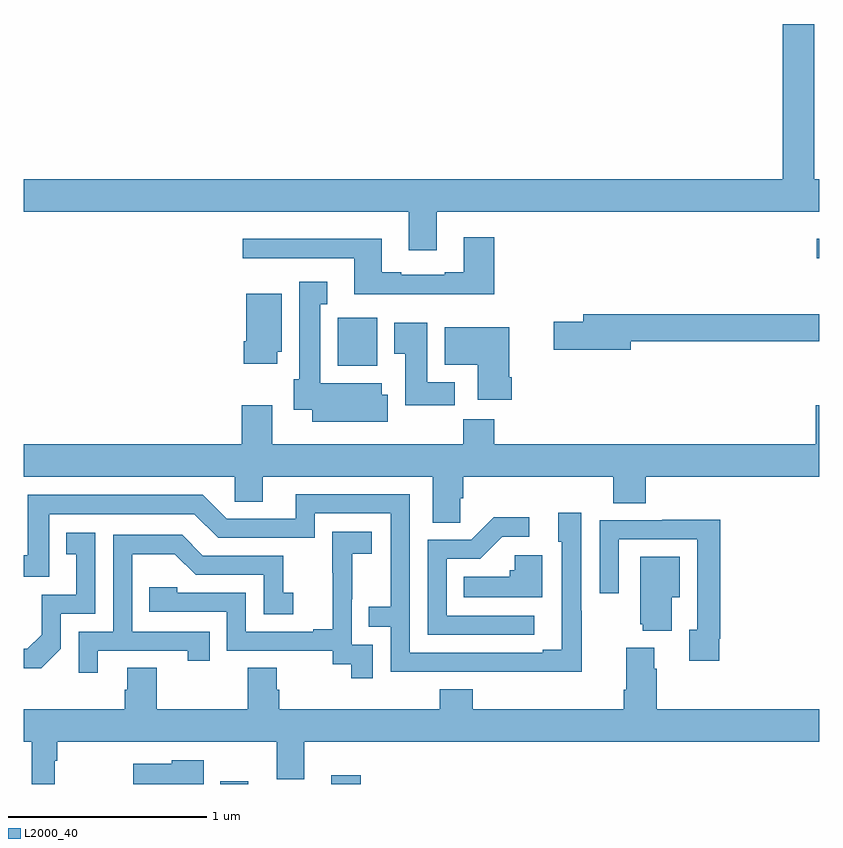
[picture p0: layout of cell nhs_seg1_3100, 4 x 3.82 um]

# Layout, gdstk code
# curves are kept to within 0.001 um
import gdstk
lib = gdstk.Library(unit=1e-6, precision=1e-09)
def R(c, l, rs):  # rectangles x0, y0, x1, y1
    for r in rs: c.add(gdstk.rectangle(r[:2], r[2:], *l))
def P(c, l, *ps):  # polygons
    for p in ps: c.add(gdstk.Polygon(p, *l))
L2000_40 = (2000, 40)

nhs_seg1_3100 = lib.new_cell('nhs_seg1_3100')
R(nhs_seg1_3100, L2000_40, [(279.989,538.199,280.128,538.213), (280.547,538.199,280.695,538.243), (280.58,540.302,280.777,540.544), (282.987,540.843,283,540.94)])
P(nhs_seg1_3100, L2000_40, [(281.077,541.076),(283,541.076),(283,541.24),(282.975,541.24),(282.975,542.02),(282.815,542.02),(282.815,541.24),(279,541.24),(279,541.076),(280.937,541.076),(280.937,540.882),(281.077,540.882)],
  [(281.366,540.949),(281.213,540.949),(281.213,540.772),(281.117,540.772),(281.117,540.759),(280.897,540.759),(280.897,540.772),(280.801,540.772),(280.801,540.94),(280.101,540.94),(280.101,540.843),(280.661,540.843),(280.661,540.662),(281.366,540.662)],
  [(280.831,540.155),(280.801,540.155),(280.801,540.214),(280.492,540.214),(280.492,540.611),(280.525,540.611),(280.525,540.724),(280.385,540.724),(280.385,540.234),(280.358,540.234),(280.358,540.08),(280.451,540.08),(280.451,540.02),(280.831,540.02)],
  [(280.276,540.372),(280.297,540.372),(280.297,540.664),(280.118,540.664),(280.118,540.424),(280.106,540.424),(280.106,540.312),(280.276,540.312)],
  [(282.052,540.424),(283,540.424),(283,540.56),(281.813,540.56),(281.813,540.524),(281.664,540.524),(281.664,540.382),(282.052,540.382)],
  [(281.168,540.22),(281.029,540.22),(281.029,540.517),(280.862,540.517),(280.862,540.361),(280.919,540.361),(280.919,540.102),(281.168,540.102)],
  [(281.453,540.244),(281.44,540.244),(281.44,540.496),(281.117,540.496),(281.117,540.308),(281.282,540.308),(281.282,540.132),(281.453,540.132)],
  [(281.196,539.635),(281.21,539.635),(281.21,539.744),(281.963,539.744),(281.963,539.611),(282.128,539.611),(282.128,539.744),(283,539.744),(283,540.103),(282.983,540.103),(282.983,539.908),(281.366,539.908),(281.366,540.032),(281.209,540.032),(281.209,539.908),(280.249,539.908),(280.249,540.103),(280.097,540.103),(280.097,539.908),(279,539.908),(279,539.744),(280.062,539.744),(280.062,539.617),(280.201,539.617),(280.201,539.744),(281.057,539.744),(281.057,539.512),(281.196,539.512)],
  [(281.805,539.069),(281.802,539.069),(281.802,539.563),(281.687,539.563),(281.687,539.418),(281.706,539.418),(281.706,538.873),(281.609,538.873),(281.609,538.86),(280.941,538.86),(280.941,539.655),(280.367,539.655),(280.367,539.532),(280.02,539.532),(279.9,539.652),(279.021,539.652),(279.021,539.35),(279,539.35),(279,539.241),(279.129,539.241),(279.129,539.556),(279.858,539.556),(279.978,539.436),(280.464,539.436),(280.464,539.559),(280.845,539.559),(280.845,539.09),(280.735,539.09),(280.735,538.989),(280.845,538.989),(280.845,538.764),(281.805,538.763)],
  [(281.566,539.046),(281.127,539.046),(281.127,539.331),(281.296,539.331),(281.407,539.442),(281.542,539.442),(281.542,539.54),(281.363,539.54),(281.25,539.427),(281.031,539.427),(281.031,538.95),(281.566,538.95)],
  [(282.496,538.93),(282.503,538.93),(282.503,539.528),(282.211,539.528),(282.211,539.526),(281.895,539.526),(281.895,539.157),(281.991,539.157),(281.991,539.43),(282.387,539.43),(282.387,538.974),(282.347,538.974),(282.347,538.818),(282.496,538.818)],
  [(280.755,538.899),(280.65,538.899),(280.65,539.129),(280.652,539.129),(280.652,539.357),(280.75,539.357),(280.75,539.467),(280.552,539.467),(280.552,539.261),(280.553,539.261),(280.553,538.978),(280.457,538.978),(280.457,538.965),(280.116,538.965),(280.116,539.16),(279.771,539.16),(279.771,539.187),(279.631,539.187),(279.631,539.064),(280.02,539.064),(280.02,538.869),(280.554,538.869),(280.554,538.801),(280.647,538.801),(280.647,538.731),(280.755,538.731)],
  [(279.186,538.878),(279.186,539.055),(279.36,539.055),(279.36,539.461),(279.214,539.461),(279.214,539.355),(279.263,539.355),(279.263,539.151),(279.09,539.151),(279.09,538.95),(279.018,538.878),(279,538.878),(279,538.781),(279.088,538.781)],
  [(279.373,538.869),(279.824,538.869),(279.824,538.818),(279.935,538.818),(279.935,538.965),(279.546,538.965),(279.546,539.354),(279.76,539.354),(279.864,539.25),(280.206,539.25),(280.206,539.052),(280.354,539.052),(280.354,539.161),(280.305,539.161),(280.305,539.346),(279.901,539.346),(279.796,539.451),(279.45,539.451),(279.45,538.965),(279.276,538.965),(279.276,538.758),(279.373,538.758)],
  [(281.608,539.35),(281.469,539.35),(281.469,539.274),(281.443,539.274),(281.443,539.242),(281.212,539.242),(281.212,539.138),(281.608,539.138)],
  [(282.259,539.138),(282.298,539.138),(282.298,539.341),(282.101,539.341),(282.101,539.001),(282.113,539.001),(282.113,538.97),(282.259,538.97)],
  [(279.156,538.316),(279.169,538.316),(279.169,538.412),(280.271,538.412),(280.271,538.222),(280.411,538.222),(280.411,538.412),(283,538.412),(283,538.576),(282.182,538.576),(282.182,538.778),(282.169,538.778),(282.169,538.885),(282.029,538.885),(282.029,538.672),(282.017,538.672),(282.017,538.576),(281.258,538.576),(281.258,538.675),(281.093,538.675),(281.093,538.576),(280.286,538.576),(280.286,538.674),(280.273,538.674),(280.273,538.784),(280.126,538.784),(280.126,538.576),(279.669,538.576),(279.669,538.784),(279.521,538.784),(279.521,538.674),(279.509,538.674),(279.509,538.576),(279,538.576),(279,538.412),(279.04,538.412),(279.04,538.199),(279.156,538.199)],
  [(279.904,538.318),(279.744,538.318),(279.744,538.3),(279.552,538.3),(279.552,538.199),(279.904,538.199)])

lib.write_gds('nhs_seg1_3100.gds')
